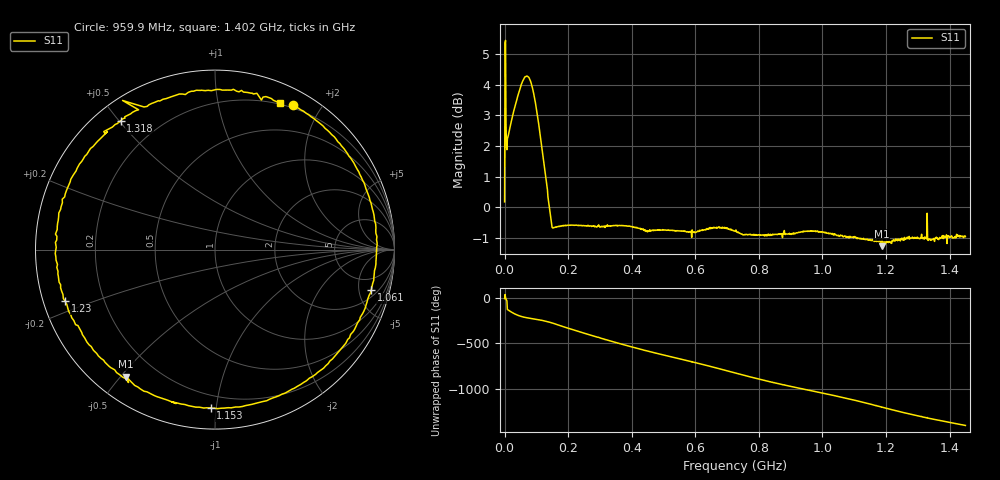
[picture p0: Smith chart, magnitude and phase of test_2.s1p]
! Created with skrf 1.11.0 (http://scikit-rf.org).
# Hz S RI R 50.0
!freq ReS11 ImS11
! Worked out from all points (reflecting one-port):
!   1001 points, 50 kHz to 1.45 GHz, reference 50 ohm
!   lowest |S11| = -1.3 dB at 1.186 GHz (marker M1), VSWR 13.71, Z = 4.63 - j25.8 ohm
!   phase of S11 starts at -4 deg and turns -1401 deg over the sweep
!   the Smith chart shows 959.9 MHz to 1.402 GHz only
!   S11 on the Smith chart (normalised r, x): 959.9 MHz: 0.17, +1.67; 1.061 GHz: 2.83, -6.67; 1.153 GHz: 0.12, -0.97; 1.23 GHz: 0.06, -0.17; 1.318 GHz: 0.07, +0.50; 1.402 GHz: 0.19, +1.52
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50000  1.018 -0.0776
1.599945e7  -1.048 -0.8376
3.919865e7  -1.496 0.1299
6.38478e7  -1.39 0.8523
8.99469e7  -1.06 1.126
1.812938e8  0.6039 0.7113
2.30592e8  0.9303 -0.0815
2.856902e8  0.4146 -0.8338
3.219389e8  -0.176 -0.9136
3.625375e8  -0.7319 -0.5798
4.118358e8  -0.9162 0.1439
4.669339e8  -0.4759 0.783
5.437812e8  0.5093 0.7608
6.307782e8  0.8708 -0.2933
6.815265e8  0.3996 -0.836
7.25025e8  -0.236 -0.8831
8.091221e8  -0.9002 0.0196
9.062688e8  -0.1821 0.8875
9.599169e8  0.4352 0.804
1.061413e9  0.8704 -0.2255
1.087512e9  0.7292 -0.5211
1.15276e9  -0.0245 -0.8825
1.186109e9  -0.4957 -0.7077
1.229608e9  -0.8348 -0.2863
1.268756e9  -0.86 0.2245
1.318055e9  -0.5261 0.7174
1.402152e9  0.3605 0.8178
1.45e9  0.7388 0.5058
